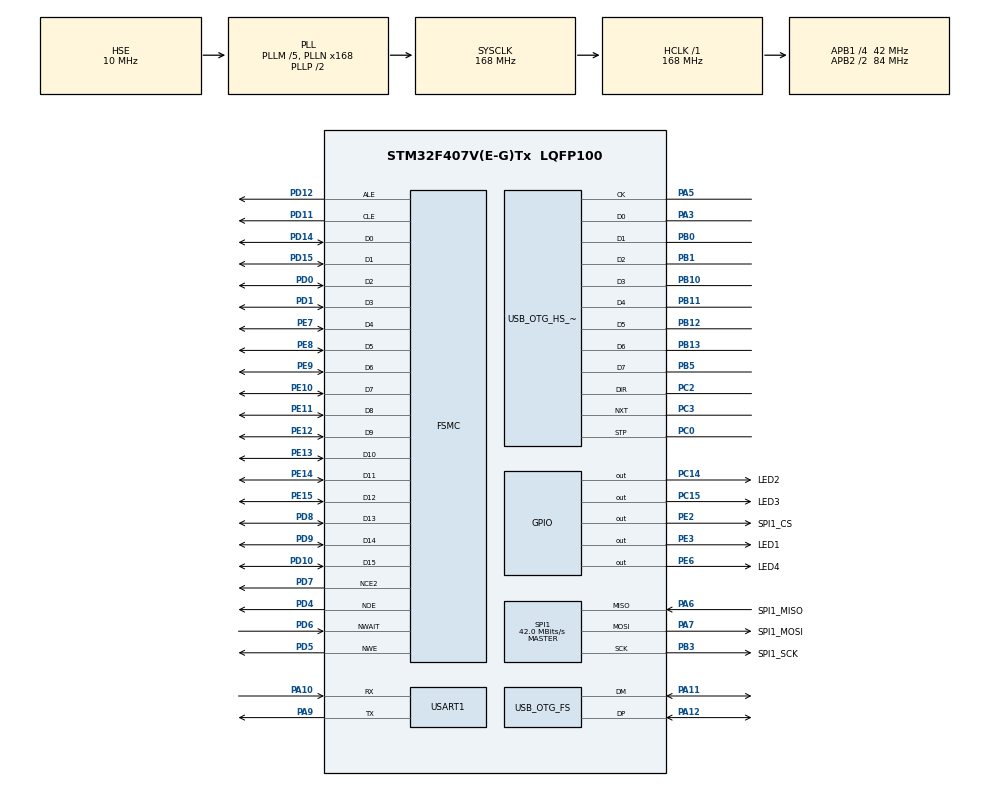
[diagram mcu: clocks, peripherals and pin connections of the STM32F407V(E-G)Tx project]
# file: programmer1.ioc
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FSMC.NandExtraCommandEnable1=ENABLE
FSMC.TARSetupTime1=2
FSMC.TCLRSetupTime1=1
Mcu.Family=STM32F4
Mcu.Name=STM32F407V(E-G)Tx
Mcu.Package=LQFP100
NVIC.FLASH_IRQn=true\:0\:0\:false\:false\:true\:true\:true\:true
NVIC.FPU_IRQn=true\:0\:0\:false\:false\:true\:true\:false\:true
NVIC.FSMC_IRQn=true\:0\:0\:false\:false\:true\:true\:true\:true
NVIC.OTG_FS_IRQn=true\:0\:0\:false\:false\:true\:false\:true\:true
NVIC.OTG_HS_EP1_IN_IRQn=true\:0\:0\:false\:false\:true\:true\:true\:true
NVIC.OTG_HS_EP1_OUT_IRQn=true\:0\:0\:false\:false\:true\:true\:true\:true
NVIC.OTG_HS_IRQn=true\:0\:0\:false\:false\:true\:true\:true\:true
NVIC.PVD_IRQn=true\:0\:0\:false\:false\:true\:true\:true\:true
NVIC.PriorityGroup=NVIC_PRIORITYGROUP_4
NVIC.RCC_IRQn=true\:0\:0\:false\:false\:true\:true\:false\:true
NVIC.SPI1_IRQn=true\:0\:0\:false\:false\:true\:true\:true\:true
NVIC.USART1_IRQn=true\:0\:0\:false\:false\:true\:true\:true\:true
PA10.Mode=Asynchronous
PA10.Signal=USART1_RX
PA11.Mode=Device_Only
PA11.Signal=USB_OTG_FS_DM
PA12.Mode=Device_Only
PA12.Signal=USB_OTG_FS_DP
PA13.Mode=Serial_Wire
PA13.Signal=SYS_JTMS-SWDIO
PA14.Mode=Serial_Wire
PA14.Signal=SYS_JTCK-SWCLK
PA3.Mode=Device_HS
PA3.Signal=USB_OTG_HS_ULPI_D0
PA5.Mode=Device_HS
PA5.Signal=USB_OTG_HS_ULPI_CK
PA6.GPIO_Label=SPI1_MISO
PA6.GPIO_Speed=GPIO_SPEED_FREQ_MEDIUM
PA6.Mode=Full_Duplex_Master
PA6.Signal=SPI1_MISO
PA7.GPIO_Label=SPI1_MOSI
PA7.GPIO_Speed=GPIO_SPEED_FREQ_MEDIUM
PA7.Mode=Full_Duplex_Master
PA7.Signal=SPI1_MOSI
PA9.Mode=Asynchronous
PA9.Signal=USART1_TX
PB0.Mode=Device_HS
PB0.Signal=USB_OTG_HS_ULPI_D1
PB1.Mode=Device_HS
PB1.Signal=USB_OTG_HS_ULPI_D2
PB10.Mode=Device_HS
PB10.Signal=USB_OTG_HS_ULPI_D3
PB11.Mode=Device_HS
PB11.Signal=USB_OTG_HS_ULPI_D4
PB12.Mode=Device_HS
PB12.Signal=USB_OTG_HS_ULPI_D5
PB13.Mode=Device_HS
PB13.Signal=USB_OTG_HS_ULPI_D6
PB3.GPIO_Label=SPI1_SCK
PB3.GPIO_Speed=GPIO_SPEED_FREQ_MEDIUM
PB3.Mode=Full_Duplex_Master
PB3.Signal=SPI1_SCK
PB5.Mode=Device_HS
PB5.Signal=USB_OTG_HS_ULPI_D7
PC0.Mode=Device_HS
PC0.Signal=USB_OTG_HS_ULPI_STP
PC14-OSC32_IN.GPIO_Label=LED2
PC14-OSC32_IN.GPIO_PuPd=GPIO_PULLUP
PC14-OSC32_IN.PinState=GPIO_PIN_RESET
PC14-OSC32_IN.Signal=GPIO_Output
PC15-OSC32_OUT.GPIO_Label=LED3
PC15-OSC32_OUT.GPIO_ModeDefaultOutputPP=GPIO_MODE_OUTPUT_PP
PC15-OSC32_OUT.GPIO_PuPd=GPIO_PULLUP
PC15-OSC32_OUT.PinState=GPIO_PIN_RESET
PC15-OSC32_OUT.Signal=GPIO_Output
PC2.Mode=Device_HS
PC2.Signal=USB_OTG_HS_ULPI_DIR
PC3.Mode=Device_HS
PC3.Signal=USB_OTG_HS_ULPI_NXT
PD0.Mode=16b-dmux1
PD0.Signal=FSMC_D2
PD1.Mode=16b-dmux1
PD1.Signal=FSMC_D3
PD10.Mode=16b-dmux1
PD10.Signal=FSMC_D15
PD11.Mode=16b-dmux1
PD11.Signal=FSMC_CLE
PD12.Mode=16b-dmux1
PD12.Signal=FSMC_ALE
PD14.Mode=16b-dmux1
PD14.Signal=FSMC_D0
PD15.Mode=16b-dmux1
PD15.Signal=FSMC_D1
PD4.Mode=16b-dmux1
PD4.Signal=FSMC_NOE
PD5.Mode=16b-dmux1
PD5.Signal=FSMC_NWE
PD6.Mode=Wait1
PD6.Signal=FSMC_NWAIT
PD7.Mode=NandChipSelect2_1
PD7.Signal=FSMC_NCE2
PD8.Mode=16b-dmux1
PD8.Signal=FSMC_D13
PD9.Mode=16b-dmux1
PD9.Signal=FSMC_D14
PE10.Mode=16b-dmux1
PE10.Signal=FSMC_D7
PE11.Mode=16b-dmux1
PE11.Signal=FSMC_D8
PE12.Mode=16b-dmux1
PE12.Signal=FSMC_D9
PE13.Mode=16b-dmux1
PE13.Signal=FSMC_D10
PE14.Mode=16b-dmux1
PE14.Signal=FSMC_D11
PE15.Mode=16b-dmux1
PE15.Signal=FSMC_D12
PE2.GPIO_Label=SPI1_CS
PE2.GPIO_PuPd=GPIO_PULLUP
PE2.GPIO_Speed=GPIO_SPEED_FREQ_MEDIUM
PE2.PinState=GPIO_PIN_SET
PE2.Signal=GPIO_Output
PE3.GPIO_Label=LED1
PE3.GPIO_PuPd=GPIO_PULLUP
PE3.PinState=GPIO_PIN_RESET
PE3.Signal=GPIO_Output
PE6.GPIO_Label=LED4
PE6.GPIO_PuPd=GPIO_PULLUP
PE6.PinState=GPIO_PIN_RESET
PE6.Signal=GPIO_Output
PE7.Mode=16b-dmux1
PE7.Signal=FSMC_D4
PE8.Mode=16b-dmux1
PE8.Signal=FSMC_D5
PE9.Mode=16b-dmux1
PE9.Signal=FSMC_D6
PH0-OSC_IN.Mode=HSE-External-Oscillator
PH0-OSC_IN.Signal=RCC_OSC_IN
PH1-OSC_OUT.Mode=HSE-External-Oscillator
PH1-OSC_OUT.Signal=RCC_OSC_OUT
ProjectManager.HeapSize=0x800
ProjectManager.StackSize=0x1000
ProjectManager.TargetToolchain=STM32CubeIDE
RCC.48MHZClocksFreq_Value=48000000
RCC.AHBFreq_Value=168000000
RCC.APB1CLKDivider=RCC_HCLK_DIV4
RCC.APB1Freq_Value=42000000
RCC.APB1TimFreq_Value=84000000
RCC.APB2CLKDivider=RCC_HCLK_DIV2
RCC.APB2Freq_Value=84000000
RCC.APB2TimFreq_Value=168000000
RCC.CortexFreq_Value=168000000
RCC.EnbaleCSS=true
RCC.HCLKFreq_Value=168000000
RCC.HSE_VALUE=10000000
RCC.HSI_VALUE=16000000
RCC.LSE_VALUE=32768
RCC.PLLM=5
RCC.PLLN=168
RCC.PLLQ=7
RCC.SYSCLKFreq_VALUE=168000000
RCC.SYSCLKSource=RCC_SYSCLKSOURCE_PLLCLK
RCC.VCOOutputFreq_Value=336000000
SPI1.CLKPhase=SPI_PHASE_2EDGE
SPI1.CLKPolarity=SPI_POLARITY_HIGH
SPI1.CalculateBaudRate=42.0 MBits/s
SPI1.Direction=SPI_DIRECTION_2LINES
SPI1.Mode=SPI_MODE_MASTER
SPI1.VirtualType=VM_MASTER
USART1.VirtualMode=VM_ASYNC
USB_DEVICE.CLASS_NAME_FS=CDC
USB_DEVICE.CLASS_NAME_HS=CDC
USB_DEVICE.VirtualMode-CDC_FS=Cdc
USB_DEVICE.VirtualMode-CDC_HS=Cdc
USB_DEVICE.VirtualModeFS=Cdc_FS
USB_DEVICE.VirtualModeHS=Cdc_HS
USB_OTG_FS.VirtualMode=Device_Only
USB_OTG_HS.VirtualMode-Device_HS=Device_HS
VP_RTC_VS_RTC_Activate.Mode=RTC_Enabled
VP_RTC_VS_RTC_Calendar.Mode=RTC_Calendar
VP_TIM3_VS_ClockSourceITR.Mode=TriggerSource_ITR0
VP_TIM3_VS_ControllerModeClock.Mode=Clock Mode
VP_USB_DEVICE_VS_USB_DEVICE_CDC_FS.Mode=CDC_FS
VP_USB_DEVICE_VS_USB_DEVICE_CDC_HS.Mode=CDC_HS
board=custom

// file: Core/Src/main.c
/* USER CODE BEGIN Header */
/**
  ******************************************************************************
  * @file           : main.c
  * @brief          : Main program body
  ******************************************************************************
  * @attention
  *
  * Copyright (c) 2023 STMicroelectronics.
  * All rights reserved.
  *
  * This software is licensed under terms that can be found in the LICENSE file
  * in the root directory of this software component.
  * If no LICENSE file comes with this software, it is provided AS-IS.
  *
  ******************************************************************************
  */
/* USER CODE END Header */
#include "main.h"
#include "rtc.h"
#include "spi.h"
#include "tim.h"
#include "usart.h"
#include "usb_device.h"
#include "gpio.h"
#include "fsmc.h"

/* USER CODE BEGIN Includes */
#include "nand_programmer.h"
#include "cdc.h"
#include "led.h"
#include "jtag.h"
#include "version.h"
#include "clock.h"
#include <stdio.h>
#include <string.h>
#include <stddef.h>
#include <stdbool.h>
#include <inttypes.h>
/* USER CODE END Includes */

void SystemClock_Config(void);

/* USER CODE BEGIN 0 */
int _write(int file, char *ptr, int len)
{
    HAL_UART_Transmit(&huart1, (uint8_t*)ptr, len, HAL_MAX_DELAY);
    return len;
}
/* USER CODE END 0 */

int main(void)
{
  /* USER CODE BEGIN 1 */
  __enable_irq();
  /* USER CODE END 1 */

  /* MCU Configuration--------------------------------------------------------*/

  /* Reset of all peripherals, Initializes the Flash interface and the Systick. */
  HAL_Init();

  /* Configure the system clock */
  SystemClock_Config();

  /* Initialize all configured peripherals */
  MX_GPIO_Init();
  MX_FSMC_Init();
  MX_RTC_Init();
  MX_USART1_UART_Init();
  MX_USB_DEVICE_Init();
  MX_SPI1_Init();
  MX_TIM3_Init();
  /* USER CODE BEGIN 2 */
  printf("\r\nNAND programmer ver: %d.%d.%d\r\n", SW_VERSION_MAJOR,
      SW_VERSION_MINOR, SW_VERSION_BUILD);

  if (!is_external_clock_avail())
      printf("External clock not detected. Fallback to internal clock.\r\n");

  printf("JTAG init...");
  jtag_init();
  printf("done.\r\n");

  printf("LED init...");
  led_init();
  printf("done.\r\n");

  printf("USB init...");
  MX_USB_DEVICE_Init();
  printf("done.\r\n");

  printf("CDC init...");
  cdc_init();
  printf("done.\r\n");

  printf("Programmer init...");
  np_init();
  printf("done.\r\n");
/*
uint8_t wData[0x200];   //写缓存数�????????????????????????????????
uint8_t rData[0x200];   //读缓存数�????????????????????????????????
uint8_t ID[4];          //设备ID缓存数组
uint32_t i;
	printf("\r\n SPI-W25Q256JVF Example \r\n\r\n");

	SPI_NOR_Init();
	SPI_NOR_Read_ID(ID);

	if((ID[0] != 0xEF) | (ID[1] != 0x18))
	{
		printf("something wrong in Step1 \r\n");
	}
	else
	{
		printf(" W25Qxx ID is : ");
		for(i=0;i<2;i++)
		{
			printf("0x%02X ",ID[i]);
		}
		printf("\r\n");
	}

	if(SPI_NOR_Erase_Block(0) == W25Qxx_OK)
		printf(" QSPI Erase Block OK!\r\n");
	else
		printf("something wrong in Step2\r\n");

	for(i =0;i<0x200;i ++)
	{
			wData[i] = i;
          rData[i] = 0;
	}

	if(SPI_NOR_Write(wData,0x00,0x200)== W25Qxx_OK)
		printf(" QSPI Write OK!\r\n");
	else
		printf("something wrong in Step3\r\n");

	if(SPI_NOR_Read(rData,0x00,0x200)== W25Qxx_OK)
		printf(" QSPI Read ok\r\n\r\n");
	else
		printf("something wrong in Step4\r\n");

	printf("QSPI Read Data : \r\n");
	for(i =0;i<0x200;i++)
		printf("0x%02X  ",rData[i]);
	printf("\r\n\r\n");

	if(memcmp(wData,rData,0x200) == 0 )
		printf(" W25Q256JV QuadSPI Test OK\r\n");
	else
		printf(" W25Q256JV QuadSPI Test False\r\n");*/

  while (1)
      np_handler();

  return 0;
  /* USER CODE END 2 */

  /* Infinite loop */

}

void SystemClock_Config(void)
{
  RCC_OscInitTypeDef RCC_OscInitStruct = {0};
  RCC_ClkInitTypeDef RCC_ClkInitStruct = {0};

  /** Configure the main internal regulator output voltage
  */
  __HAL_RCC_PWR_CLK_ENABLE();
  __HAL_PWR_VOLTAGESCALING_CONFIG(PWR_REGULATOR_VOLTAGE_SCALE1);

  /** Initializes the RCC Oscillators according to the specified parameters
  * in the RCC_OscInitTypeDef structure.
  */
  RCC_OscInitStruct.OscillatorType = RCC_OSCILLATORTYPE_LSI|RCC_OSCILLATORTYPE_HSE;
  RCC_OscInitStruct.HSEState = RCC_HSE_ON;
  RCC_OscInitStruct.LSIState = RCC_LSI_ON;
  RCC_OscInitStruct.PLL.PLLState = RCC_PLL_ON;
  RCC_OscInitStruct.PLL.PLLSource = RCC_PLLSOURCE_HSE;
  RCC_OscInitStruct.PLL.PLLM = 5;
  RCC_OscInitStruct.PLL.PLLN = 168;
  RCC_OscInitStruct.PLL.PLLP = RCC_PLLP_DIV2;
  RCC_OscInitStruct.PLL.PLLQ = 7;
  if (HAL_RCC_OscConfig(&RCC_OscInitStruct) != HAL_OK)
  {
    Error_Handler();
  }

  /** Initializes the CPU, AHB and APB buses clocks
  */
  RCC_ClkInitStruct.ClockType = RCC_CLOCKTYPE_HCLK|RCC_CLOCKTYPE_SYSCLK
                              |RCC_CLOCKTYPE_PCLK1|RCC_CLOCKTYPE_PCLK2;
  RCC_ClkInitStruct.SYSCLKSource = RCC_SYSCLKSOURCE_PLLCLK;
  RCC_ClkInitStruct.AHBCLKDivider = RCC_SYSCLK_DIV1;
  RCC_ClkInitStruct.APB1CLKDivider = RCC_HCLK_DIV4;
  RCC_ClkInitStruct.APB2CLKDivider = RCC_HCLK_DIV2;

  if (HAL_RCC_ClockConfig(&RCC_ClkInitStruct, FLASH_LATENCY_5) != HAL_OK)
  {
    Error_Handler();
  }

  /** Enables the Clock Security System
  */
  HAL_RCC_EnableCSS();
}

void Error_Handler(void)
{
  __disable_irq();
  while (1)
  {
  }
}
